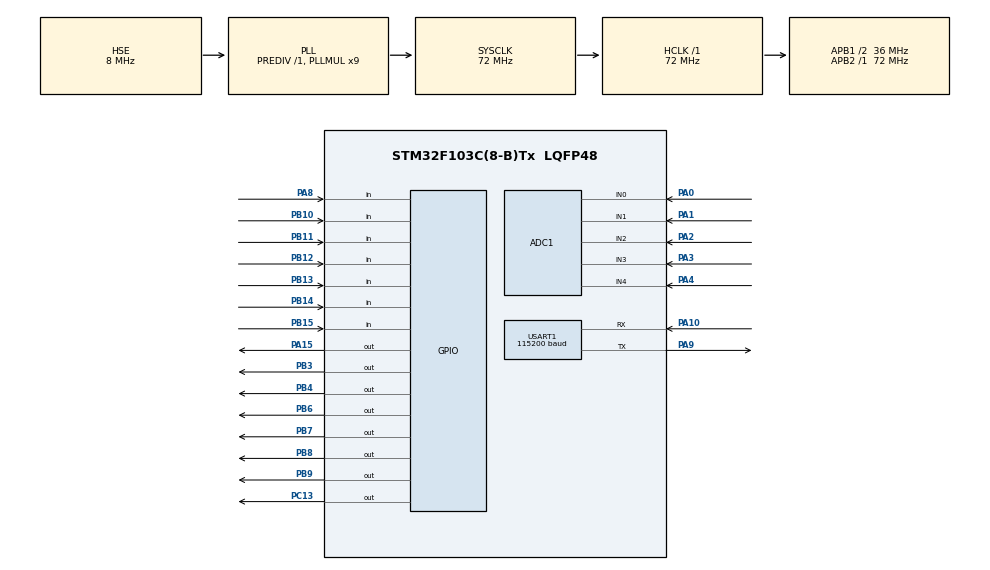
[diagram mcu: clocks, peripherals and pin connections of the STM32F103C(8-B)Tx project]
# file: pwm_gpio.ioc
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ADC1.Channel-0\#ChannelRegularConversion=ADC_CHANNEL_0
ADC1.NbrOfConversionFlag=1
ADC1.Rank-0\#ChannelRegularConversion=1
ADC1.SamplingTime-0\#ChannelRegularConversion=ADC_SAMPLETIME_1CYCLE_5
ADC1.master=1
FREERTOS.Tasks01=defaultTask,24,128,StartDefaultTask,Default,NULL,Dynamic,NULL,NULL;myUart,24,128,StartUart,Default,NULL,Dynamic,NULL,NULL;myLed,8,128,StartLed,Default,NULL,Dynamic,NULL,NULL
Mcu.Family=STM32F1
Mcu.Name=STM32F103C(8-B)Tx
Mcu.Package=LQFP48
NVIC.PriorityGroup=NVIC_PRIORITYGROUP_4
NVIC.TIM4_IRQn=true\:0\:0\:false\:false\:true\:false\:false\:true
NVIC.TimeBase=TIM4_IRQn
NVIC.TimeBaseIP=TIM4
NVIC.USART1_IRQn=true\:5\:0\:false\:false\:true\:true\:true\:true
PA0-WKUP.Signal=ADCx_IN0
PA1.Signal=ADCx_IN1
PA10.Mode=Asynchronous
PA10.Signal=USART1_RX
PA13.Mode=Serial_Wire
PA13.Signal=SYS_JTMS-SWDIO
PA14.Mode=Serial_Wire
PA14.Signal=SYS_JTCK-SWCLK
PA15.Signal=GPIO_Output
PA2.Signal=ADCx_IN2
PA3.Signal=ADCx_IN3
PA4.Signal=ADCx_IN4
PA8.Signal=GPIO_Input
PA9.Mode=Asynchronous
PA9.Signal=USART1_TX
PB10.Signal=GPIO_Input
PB11.Signal=GPIO_Input
PB12.Signal=GPIO_Input
PB13.Signal=GPIO_Input
PB14.Signal=GPIO_Input
PB15.Signal=GPIO_Input
PB3.Signal=GPIO_Output
PB4.Signal=GPIO_Output
PB6.Signal=GPIO_Output
PB7.Signal=GPIO_Output
PB8.Signal=GPIO_Output
PB9.Signal=GPIO_Output
PC13-TAMPER-RTC.Signal=GPIO_Output
PD0-OSC_IN.Mode=HSE-External-Oscillator
PD0-OSC_IN.Signal=RCC_OSC_IN
PD1-OSC_OUT.Mode=HSE-External-Oscillator
PD1-OSC_OUT.Signal=RCC_OSC_OUT
ProjectManager.HeapSize=0x200
ProjectManager.StackSize=0x400
ProjectManager.TargetToolchain=TrueSTUDIO
RCC.ADCPresc=RCC_ADCPCLK2_DIV6
RCC.AHBFreq_Value=72000000
RCC.APB1CLKDivider=RCC_HCLK_DIV2
RCC.APB1Freq_Value=36000000
RCC.APB1TimFreq_Value=72000000
RCC.APB2Freq_Value=72000000
RCC.APB2TimFreq_Value=72000000
RCC.HCLKFreq_Value=72000000
RCC.PLLMUL=RCC_PLL_MUL9
RCC.PLLSourceVirtual=RCC_PLLSOURCE_HSE
RCC.SYSCLKFreq_VALUE=72000000
RCC.SYSCLKSource=RCC_SYSCLKSOURCE_PLLCLK
RCC.USBFreq_Value=72000000
SH.ADCx_IN0.0=ADC1_IN0,IN0
SH.ADCx_IN1.0=ADC1_IN1,IN1
SH.ADCx_IN2.0=ADC1_IN2,IN2
SH.ADCx_IN3.0=ADC1_IN3,IN3
SH.ADCx_IN4.0=ADC1_IN4,IN4
USART1.BaudRate=115200
USART1.VirtualMode=VM_ASYNC
VP_FREERTOS_VS_CMSIS_V2.Mode=CMSIS_V2
VP_SYS_VS_tim4.Mode=TIM4
board=custom

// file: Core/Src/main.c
/* USER CODE BEGIN Header */
/**
  ******************************************************************************
  * @file           : main.c
  * @brief          : Main program body
  ******************************************************************************
  * @attention
  *
  * <h2><center>&copy; Copyright (c) 2021 STMicroelectronics.
  * All rights reserved.</center></h2>
  *
  * This software component is licensed by ST under BSD 3-Clause license,
  * the "License"; You may not use this file except in compliance with the
  * License. You may obtain a copy of the License at:
  *                        opensource.org/licenses/BSD-3-Clause
  *
  ******************************************************************************
  */
/* USER CODE END Header */
#include "main.h"
#include "cmsis_os.h"
#include "adc.h"
#include "usart.h"
#include "gpio.h"

/* USER CODE BEGIN PV */
modbusHandler_t ModbusH;//-----из библиотеки modbus
uint16_t ModbusDATA[8];

/* USER CODE END PV */

void SystemClock_Config(void);
void MX_FREERTOS_Init(void);

int main(void)
{

  /* MCU Configuration--------------------------------------------------------*/

  /* Reset of all peripherals, Initializes the Flash interface and the Systick. */
  HAL_Init();

  /* Configure the system clock */
  SystemClock_Config();

  /* Initialize all configured peripherals */
  MX_GPIO_Init();
  MX_USART1_UART_Init();
  MX_ADC1_Init();
  /* USER CODE BEGIN 2 */

  ModbusH.uiModbusType = SLAVE_RTU;
  ModbusH.port =  &huart1;
  ModbusH.u8id = 01; //Modbus slave ID
  ModbusH.u16timeOut = 1000;
  ModbusH.EN_Port = NULL;
  ModbusH.u32overTime = 0;
  ModbusH.au16regs = ModbusDATA;
  ModbusH.u16regsize= sizeof(ModbusDATA)/sizeof(ModbusDATA[0]);

  //Initialize Modbus library
  ModbusInit(&ModbusH);
  //Start capturing traffic on serial Port
  ModbusStart(&ModbusH);
  /* USER CODE END 2 */

  /* Init scheduler */
  osKernelInitialize();  /* Call init function for freertos objects (in freertos.c) */
  MX_FREERTOS_Init();
  /* Start scheduler */
  osKernelStart();

  /* We should never get here as control is now taken by the scheduler */
  /* Infinite loop */
  while (1)
  {

  }
}

void SystemClock_Config(void)
{
  RCC_OscInitTypeDef RCC_OscInitStruct = {0};
  RCC_ClkInitTypeDef RCC_ClkInitStruct = {0};
  RCC_PeriphCLKInitTypeDef PeriphClkInit = {0};

  /** Initializes the RCC Oscillators according to the specified parameters
  * in the RCC_OscInitTypeDef structure.
  */
  RCC_OscInitStruct.OscillatorType = RCC_OSCILLATORTYPE_HSE;
  RCC_OscInitStruct.HSEState = RCC_HSE_ON;
  RCC_OscInitStruct.HSEPredivValue = RCC_HSE_PREDIV_DIV1;
  RCC_OscInitStruct.HSIState = RCC_HSI_ON;
  RCC_OscInitStruct.PLL.PLLState = RCC_PLL_ON;
  RCC_OscInitStruct.PLL.PLLSource = RCC_PLLSOURCE_HSE;
  RCC_OscInitStruct.PLL.PLLMUL = RCC_PLL_MUL9;
  if (HAL_RCC_OscConfig(&RCC_OscInitStruct) != HAL_OK)
  {
    Error_Handler();
  }
  /** Initializes the CPU, AHB and APB buses clocks
  */
  RCC_ClkInitStruct.ClockType = RCC_CLOCKTYPE_HCLK|RCC_CLOCKTYPE_SYSCLK
                              |RCC_CLOCKTYPE_PCLK1|RCC_CLOCKTYPE_PCLK2;
  RCC_ClkInitStruct.SYSCLKSource = RCC_SYSCLKSOURCE_PLLCLK;
  RCC_ClkInitStruct.AHBCLKDivider = RCC_SYSCLK_DIV1;
  RCC_ClkInitStruct.APB1CLKDivider = RCC_HCLK_DIV2;
  RCC_ClkInitStruct.APB2CLKDivider = RCC_HCLK_DIV1;

  if (HAL_RCC_ClockConfig(&RCC_ClkInitStruct, FLASH_LATENCY_2) != HAL_OK)
  {
    Error_Handler();
  }
  PeriphClkInit.PeriphClockSelection = RCC_PERIPHCLK_ADC;
  PeriphClkInit.AdcClockSelection = RCC_ADCPCLK2_DIV6;
  if (HAL_RCCEx_PeriphCLKConfig(&PeriphClkInit) != HAL_OK)
  {
    Error_Handler();
  }
}

 /**
  * @brief  Period elapsed callback in non blocking mode
  * @note   This function is called  when TIM4 interrupt took place, inside
  * HAL_TIM_IRQHandler(). It makes a direct call to HAL_IncTick() to increment
  * a global variable "uwTick" used as application time base.
  * @param  htim : TIM handle
  * @retval None
  */
void HAL_TIM_PeriodElapsedCallback(TIM_HandleTypeDef *htim)
{
  if (htim->Instance == TIM4) {
    HAL_IncTick();
  }
}

void Error_Handler(void)
{
  __disable_irq();
  while (1)
  {
  }
}

/************************ (C) COPYRIGHT STMicroelectronics *****END OF FILE****/

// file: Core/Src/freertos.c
/* USER CODE BEGIN Header */
/**
  ******************************************************************************
  * File Name          : freertos.c
  * Description        : Code for freertos applications
  ******************************************************************************
  * @attention
  *
  * <h2><center>&copy; Copyright (c) 2021 STMicroelectronics.
  * All rights reserved.</center></h2>
  *
  * This software component is licensed by ST under Ultimate Liberty license
  * SLA0044, the "License"; You may not use this file except in compliance with
  * the License. You may obtain a copy of the License at:
  *                             www.st.com/SLA0044
  *
  ******************************************************************************
  */
/* USER CODE END Header */

#include "FreeRTOS.h"
#include "task.h"
#include "main.h"
#include "cmsis_os.h"

/* USER CODE BEGIN Includes */
#include "semphr.h"
/* USER CODE END Includes */

/* Definitions for defaultTask */
osThreadId_t defaultTaskHandle;
const osThreadAttr_t defaultTask_attributes = {
  .name = "defaultTask",
  .stack_size = 128 * 4,
  .priority = (osPriority_t) osPriorityNormal,
};
/* Definitions for myUart */
osThreadId_t myUartHandle;
const osThreadAttr_t myUart_attributes = {
  .name = "myUart",
  .stack_size = 128 * 4,
  .priority = (osPriority_t) osPriorityNormal,
};
/* Definitions for myLed */
osThreadId_t myLedHandle;
const osThreadAttr_t myLed_attributes = {
  .name = "myLed",
  .stack_size = 128 * 4,
  .priority = (osPriority_t) osPriorityLow,
};

void StartDefaultTask(void *argument);
void StartUart(void *argument);
void StartLed(void *argument);

void MX_FREERTOS_Init(void); /* (MISRA C 2004 rule 8.1) */

void MX_FREERTOS_Init(void) {

  /* Create the thread(s) */
  /* creation of defaultTask */
  defaultTaskHandle = osThreadNew(StartDefaultTask, NULL, &defaultTask_attributes);

  /* creation of myUart */
  myUartHandle = osThreadNew(StartUart, NULL, &myUart_attributes);

  /* creation of myLed */
  myLedHandle = osThreadNew(StartLed, NULL, &myLed_attributes);

}

void StartDefaultTask(void *argument)
{
  for(;;)
  {
    osDelay(1);
  }
}

void StartUart(void *argument)
{
  /* USER CODE BEGIN StartUart */
  /* Infinite loop */
  for(;;)
  {
	HAL_GPIO_TogglePin(GPIOC, GPIO_PIN_13);
	//  HAL_Delay(500);
    osDelay(250+ModbusDATA[1]);
  }
  /* USER CODE END StartUart */
}

void StartLed(void *argument)
{
  /* USER CODE BEGIN StartLed */
  /* Infinite loop */
  for(;;)
  {
/*    xSemaphoreTake(ModbusH.ModBusSphrHandle , 100);
    HAL_GPIO_WritePin(GPIOC, GPIO_PIN_13, ModbusH.au16regs[0] & 0x1);
    xSemaphoreGive(ModbusH.ModBusSphrHandle);*/
    osDelay(1);

  }
  /* USER CODE END StartLed */
}

/************************ (C) COPYRIGHT STMicroelectronics *****END OF FILE****/
